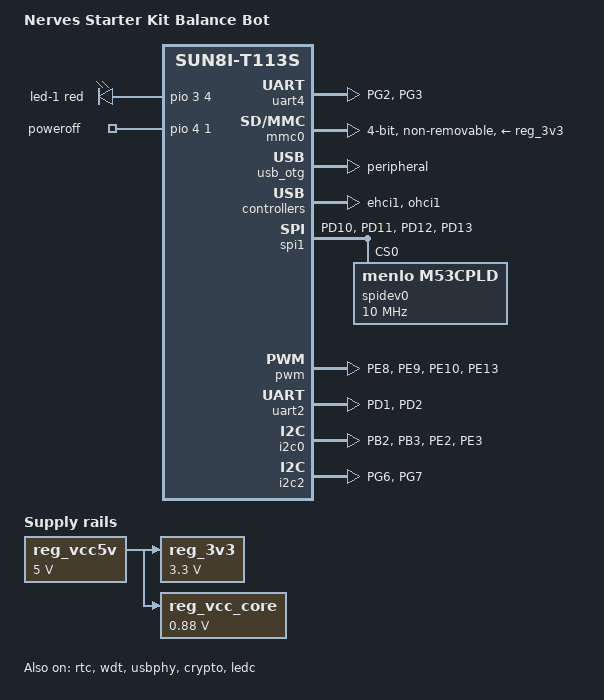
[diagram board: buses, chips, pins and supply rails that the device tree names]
// SPDX-License-Identifier: (GPL-2.0-or-later OR MIT)
// Copyright (C) 2022 Arm Ltd.
// Copyright (C) 2024 Connor Rigby <connorr@hey.com>

#include <dt-bindings/interrupt-controller/irq.h>

/dts-v1/;

#include <arm/allwinner/sun8i-t113s.dtsi>

#include <dt-bindings/gpio/gpio.h>
#include <dt-bindings/input/input.h>
#include <dt-bindings/leds/common.h>
#include <dt-bindings/pwm/pwm.h>

/ {
	model = "Nerves Starter Kit Balance Bot";
	compatible = "protolux,nerves-starter-kit", "allwinner,sun8i-t113s", "allwinner,sun8i";

	aliases {
		serial0 = &uart0;
		serial2 = &uart2;
		serial4 = &uart4;
	};

	chosen {
		stdout-path = "serial4:115200n8";
	};

	leds {
		compatible = "gpio-leds";

		led-1 {
			color = <LED_COLOR_ID_RED>;
			function = LED_FUNCTION_STATUS;
			gpios = <&pio 3 4 GPIO_ACTIVE_HIGH>; /* PD4 */
			linux,default-trigger = "heartbeat";
		};
	};

	poweroff {
		compatible = "gpio-poweroff";
		gpios = <&pio 4 1 GPIO_ACTIVE_HIGH>; /* PE1 */
	};

	reg_vcc5v: regulator-5v {
		compatible = "regulator-fixed";
		regulator-name = "vcc-5v";
		regulator-min-microvolt = <5000000>;
		regulator-max-microvolt = <5000000>;
		regulator-always-on;
	};

	reg_3v3: regulator-3v3 {
		compatible = "regulator-fixed";
		regulator-name = "vcc-3v3";
		regulator-min-microvolt = <3300000>;
		regulator-max-microvolt = <3300000>;
		vin-supply = <&reg_vcc5v>;
		regulator-always-on;
	};

	reg_vcc_core: regulator-core {
		compatible = "regulator-fixed";
		regulator-name = "vcc-core";
		regulator-min-microvolt = <880000>;
		regulator-max-microvolt = <880000>;
		vin-supply = <&reg_vcc5v>;
		regulator-always-on;
	};
};

&cpu0 {
	cpu-supply = <&reg_vcc_core>;
};

&cpu1 {
	cpu-supply = <&reg_vcc_core>;
};

&rtc {
	status = "okay";
};

&dcxo {
	clock-frequency = <24000000>;
};

&wdt {
	status = "okay";
};

&pio {
	vcc-pb-supply = <&reg_3v3>;
	vcc-pc-supply = <&reg_3v3>;
	vcc-pd-supply = <&reg_3v3>;
	vcc-pe-supply = <&reg_3v3>;
	vcc-pf-supply = <&reg_3v3>;
	vcc-pg-supply = <&reg_3v3>;

	gpio-line-names =
		/* PA */
		"","","","","","","","",
		"","","","","","","","",
		"","","","","","","","",
		"","","","","","","","",
		/* PB */
		"","","I2C0_SDA","I2C0_SCL","","","","",
		"","","","","","","","",
		"","","","","","","","",
		"","","","","","","","",
		/* PC */
		"","","","","","","","",
		"","","","","","","","",
		"","","","","","","","",
		"","","","","","","","",
		/* PD */
		"","UART2_TX","UART2_RX","","LED_1","LED_2","CONFIG_4","CONFIG_3",
		"CONFIG_2","CONFIG_1","SPI_CS","SPI_CLK","SPI_MOSI","","","",
		"EPD_DC","EPD_RESET","EPD_BUSY","","","","","",
		"","","","","","","","",
		/* PE */
		"STM_RESET","POWER_OFF","PE2","PE3","PE4","PE5","PE6","PE7",
		"PE8","PE9","PE10","PE11","PE12","PE13","","",
		"","","","","","","","",
		"","","","","","","","",
		/* PF */
		"","","","","","","","",
		"","","","","","","","",
		"","","","","","","","",
		"","","","","","","","",
		/* PG */
		"","WIFI_EN","DEBUG_TX","DEBUG_RX","","","I2C2_SCL","I2C2_SDA",
		"","","","","","","","",
		"","","","","","","","",
		"","","","","","","","";

	uart4_pg_pins: uart4-pg-pins {
		pins = "PG2", "PG3";
		function = "uart4";
	};

	spi1_pd_pins: spi1-pd-pins {
		pins = "PD10", "PD11", "PD12", "PD13";
		function = "spi1";
	};

	i2c0_pb_pins: i2c0-pb-pins {
		pins = "PB2", "PB3";
		function = "i2c0";
	};

	i2c2_pg_pins: i2c2-pg-pins {
		pins = "PG6", "PG7";
		function = "i2c2";
	};

	uart0_pe_pins: uart0-pe-pins {
		pins = "PE2", "PE3";
		function = "uart0";
	};

	uart2_pd_pins: uart2-pd-pins {
		pins = "PD1", "PD2";
		function = "uart2";
	};

	// Expansion header pin definitions

	i2c0_pe_pins: i2c0-pe-pins {
		pins = "PE2", "PE3";
		function = "i2c0";
	};

	// LEDC for driving Neopixels
	ledc_pe_pins: ledc-pe-pins {
		pins = "PE5";
		function = "ledc";
	};

	// Motor driver inputs (driven via PWM)
	pwm2_pe_pin: pwm2-pe-pin {
		pins = "PE8";
		function = "pwm2";
	};

	pwm3_pe_pin: pwm3-pe-pin {
		pins = "PE9";
		function = "pwm3";
	};

	pwm4_pe_pin: pwm4-pe-pin {
		pins = "PE10";
		function = "pwm4";
	};

	pwm5_pe_pin: pwm5-pe-pin {
		pins = "PE13";
		function = "pwm5";
	};
};

/* shell */
&uart4 {
	pinctrl-names = "default";
	pinctrl-0 = <&uart4_pg_pins>;
	status = "okay";
};

&mmc0 {
	pinctrl-names = "default";
	pinctrl-0 = <&mmc0_pins>;
	vmmc-supply = <&reg_3v3>;
	disable-wp;
	bus-width = <4>;
	max-frequency = <50000000>;
	non-removable;
	broken-cd;
	no-1-8-v;
	status = "okay";
};

&gpadc {
	status = "disabled";
};

&usb_otg {
	dr_mode = "peripheral";
	status = "okay";
};

&usbphy {
	status = "okay";
};

&ehci1 {
	status = "okay";
};

&ohci1 {
	status = "okay";
};

&spi0 {
	status = "disabled";
};

&spi1 {
	pinctrl-names = "default";
	pinctrl-0 = <&spi1_pd_pins>;
	status = "okay";

	/* Generic spidev on chip-select 0  → /dev/spidev0.0 */
	spidev0: spidev@0 {
	  compatible = "menlo,m53cpld";
	  reg = <0>;
	  spi-max-frequency = <10000000>;
	};
};

&mixer0 {
	status = "disabled";
};

&tcon_top {
	status = "disabled";
};

&tcon_lcd0 {
	status = "disabled";
};

&crypto {
	status = "okay";
};

// enable PWM channels on motor driver pins
&pwm {
	pinctrl-names = "default";
	pinctrl-0 = <&pwm2_pe_pin>, <&pwm3_pe_pin>, <&pwm4_pe_pin>, <&pwm5_pe_pin>;
	status = "okay";
};

/*
 * NeoPixels on the expansion board
 *
 * 6.18 added support for LEDC peripheral, but didn't add the device tree node.
 * The LEDC peripheral device tree node was added in kernel version 7.0
 */
&{/soc} {
	ledc: led-controller@2008000 {
		compatible = "allwinner,sun20i-d1-ledc",
			     "allwinner,sun50i-a100-ledc";
		reg = <0x2008000 0x400>;
		interrupts = <SOC_PERIPHERAL_IRQ(20) IRQ_TYPE_LEVEL_HIGH>;
		clocks = <&ccu CLK_BUS_LEDC>, <&ccu CLK_LEDC>;
		clock-names = "bus", "mod";
		resets = <&ccu RST_BUS_LEDC>;
		dmas = <&dma 42>;
		dma-names = "tx";
		#address-cells = <1>;
		#size-cells = <0>;

		pinctrl-names = "default";
		pinctrl-0 = <&ledc_pe_pins>;
		status = "okay";

		multi-led@0 {
			reg = <0x0>;
			color = <LED_COLOR_ID_RGB>;
			function = LED_FUNCTION_INDICATOR;
			function-enumerator = <0>;
		};

		multi-led@1 {
			reg = <0x1>;
			color = <LED_COLOR_ID_RGB>;
			function = LED_FUNCTION_INDICATOR;
			function-enumerator = <1>;
		};

		multi-led@2 {
			reg = <0x2>;
			color = <LED_COLOR_ID_RGB>;
			function = LED_FUNCTION_INDICATOR;
			function-enumerator = <2>;
		};

		multi-led@3 {
			reg = <0x3>;
			color = <LED_COLOR_ID_RGB>;
			function = LED_FUNCTION_INDICATOR;
			function-enumerator = <3>;
		};
	};
};

&uart0 {
	pinctrl-names = "default";
	pinctrl-0 = <&uart0_pe_pins>;
	status = "disabled";
};

&uart2 {
	pinctrl-names = "default";
	pinctrl-0 = <&uart2_pd_pins>;
	status = "okay";
};

// NSK onboard sensors and expansion header both are on I2C0, so
// we enable two sets of pins here
&i2c0 {
	pinctrl-names = "default";
	pinctrl-0 = <&i2c0_pb_pins>, <&i2c0_pe_pins>;
	status = "okay";
};

&i2c2 {
	pinctrl-names = "default";
	pinctrl-0 = <&i2c2_pg_pins>;
	status = "okay";
};

